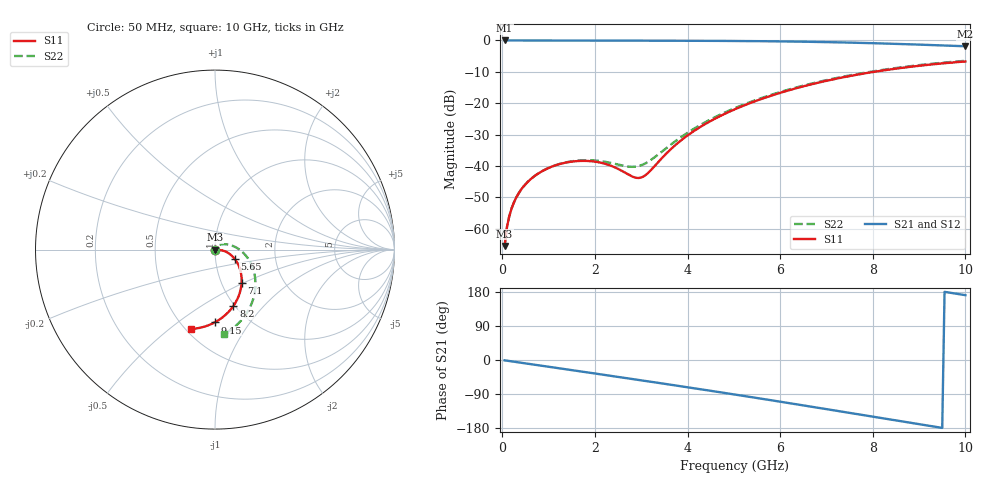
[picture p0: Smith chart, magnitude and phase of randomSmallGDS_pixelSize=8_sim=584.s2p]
! freq	dB(S11)	phase(S11)	dB(S12)	phase(S12)
!  dB(S21)	phase(S21)	dB(S22)	phase(S22)
!S-par simulation data
#  GHz  S  DB  R 50
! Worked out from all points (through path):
!   200 points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, 50 MHz to 10 GHz, reference 50 ohm
!   highest |S21| = 0.00 dB at 50 MHz (marker M1); lowest = -1.9 dB at 10 GHz (marker M2)
!   group delay of S21, straight-line fit = 52.7 ps
!   lowest |S11| = -65.6 dB at 50 MHz (marker M3), VSWR 1.00, Z = 50 - j0.0526 ohm
!   |S11| at or under -10 dB: start of sweep to 8.032 GHz
!   |S22| runs from -65.6 to -6.5 dB; largest |S21 - S12| = 0
!   S11 on the Smith chart (normalised r, x): 50 MHz: 1.00, -0.00; 5.65 GHz: 1.24, -0.13; 7.1 GHz: 1.24, -0.48; 8.2 GHz: 0.98, -0.69; 9.15 GHz: 0.71, -0.69; 10 GHz: 0.53, -0.60
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0.05  -65.57 -87.3  -0.00 -0.9  -0.00 -0.9  -65.61 -87.8
0.1  -59.57 -89.8  -0.00 -1.8  -0.00 -1.8  -59.61 -90.8
0.2  -53.59 -92.2  -0.00 -3.6  -0.00 -3.6  -53.62 -94.1
0.35  -48.82 -94.7  -0.01 -6.3  -0.01 -6.3  -48.85 -98.2
0.5  -45.87 -97.0  -0.01 -9.0  -0.01 -9.0  -45.88 -102.1
0.75  -42.68 -100.6  -0.02 -13.4  -0.02 -13.4  -42.68 -108.6
1.05  -40.36 -104.5  -0.02 -18.7  -0.02 -18.7  -40.33 -116.6
1.75  -38.40 -111.5  -0.04 -31.2  -0.04 -31.2  -38.21 -138.3
2.25  -39.48 -111.1  -0.05 -40.1  -0.05 -40.1  -38.79 -160.9
2.7  -42.58 -94.2  -0.05 -48.2  -0.05 -48.2  -40.19 163.3
2.95  -43.86 -64.6  -0.06 -52.7  -0.06 -52.7  -40.04 133.3
3.1  -42.88 -42.5  -0.06 -55.4  -0.06 -55.4  -39.13 114.6
3.4  -38.27 -15.4  -0.07 -60.9  -0.07 -60.9  -35.99 84.2
4.1  -29.26 -5.6  -0.10 -73.8  -0.10 -73.8  -28.50 46.2
5.05  -21.77 -15.7  -0.17 -91.6  -0.17 -91.6  -21.40 18.0
5.65  -18.38 -25.1  -0.24 -103.2  -0.24 -103.2  -18.10 3.7
6.7  -13.90 -43.6  -0.44 -123.7  -0.44 -123.7  -13.67 -19.3
7.1  -12.55 -51.0  -0.55 -131.6  -0.55 -131.6  -12.33 -27.7
8.2  -9.62 -72.0  -0.95 -153.5  -0.95 -153.5  -9.41 -50.0
8.35  -9.29 -74.8  -1.02 -156.5  -1.02 -156.5  -9.09 -53.0
9.15  -7.83 -90.3  -1.40 -172.3  -1.40 -172.3  -7.62 -68.4
10  -6.71 -106.7  -1.85 171.1  -1.85 171.1  -6.49 -84.2
